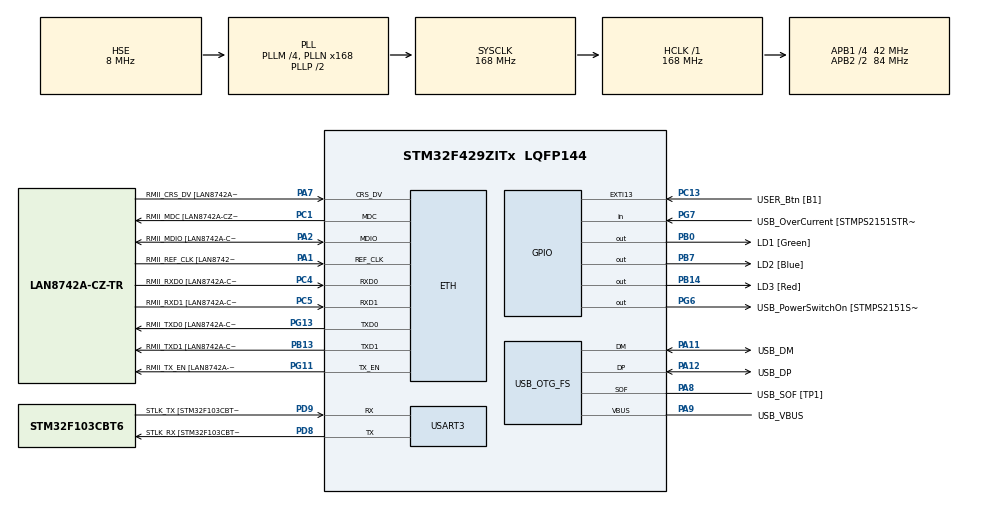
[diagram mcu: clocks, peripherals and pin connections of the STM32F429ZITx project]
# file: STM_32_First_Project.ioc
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Mcu.Family=STM32F4
RCC.CortexFreq_Value=168000000
PG6.Signal=GPIO_Output
PB14.GPIO_Label=LD3 [Red]
PG6.GPIO_Label=USB_PowerSwitchOn [STMPS2151STR_EN]
PA14.GPIO_Label=TCK
RCC.SYSCLKSourceVirtual=RCC_SYSCLKSOURCE_PLLCLK
PA11.Mode=Device_Only
PB0.GPIO_Label=LD1 [Green]
PC14/OSC32_IN.Mode=LSE-External-Oscillator
PC5.Mode=RMII
PC13.GPIO_Label=USER_Btn [B1]
PB13.GPIO_Label=RMII_TXD1 [LAN8742A-CZ-TR_TXD1]
PB13.Signal=ETH_TXD1
PG13.Signal=ETH_TXD0
PD9.Mode=Asynchronous
PG11.Signal=ETH_TX_EN
RCC.SYSCLKSource=RCC_SYSCLKSOURCE_PLLCLK
ProjectManager.StackSize=0x400
PA12.Signal=USB_OTG_FS_DP
ETH.PHY_Value=0
PH0/OSC_IN.Mode=HSE-External-Clock-Source
RCC.HCLKFreq_Value=168000000
RCC.APB2TimFreq_Value=168000000
PH1/OSC_OUT.Signal=RCC_OSC_OUT
PD8.Signal=USART3_TX
RCC.AHBFreq_Value=168000000
RCC.HSE_VALUE=8000000
RCC.PLLMUL=RCC_PLL_MUL9
PC4.GPIO_Label=RMII_RXD0 [LAN8742A-CZ-TR_RXD0]
PA14.Mode=Serial_Wire
PA10.GPIO_Label=USB_ID
PB7.Signal=GPIO_Output
PA8.Signal=USB_OTG_FS_SOF
PG13.Mode=RMII
ETH.PHY_Name=LAN8742A_PHY_ADDRESS
PH1/OSC_OUT.Mode=HSE-External-Clock-Source
PB7.GPIO_Label=LD2 [Blue]
Mcu.Package=LQFP144
PC14/OSC32_IN.Signal=RCC_OSC32_IN
PA2.GPIO_Label=RMII_MDIO [LAN8742A-CZ-TR_MDIO]
PA10.Signal=USB_OTG_FS_ID
USB_OTG_FS.VirtualMode=Device_Only
RCC.APB2CLKDivider=RCC_HCLK_DIV2
RCC.APB1TimFreq_Value=84000000
PG11.GPIO_Label=RMII_TX_EN [LAN8742A-CZ-TR_TXEN]
PC5.Signal=ETH_RXD1
PB13.Mode=RMII
PC4.Mode=RMII
PA7.Mode=RMII
PG7.Signal=GPIO_Input
PD9.GPIO_Label=STLK_TX [STM32F103CBT6_PA2]
PC13.Signal=GPXTI13
PA9.GPIO_Label=USB_VBUS
PC4.Signal=ETH_RXD0
PA11.GPIO_Label=USB_DM
PD9.Signal=USART3_RX
RCC.APB1CLKDivider=RCC_HCLK_DIV4
PG13.GPIO_Label=RMII_TXD0 [LAN8742A-CZ-TR_TXD0]
ETH.PhyAddress=0
PA12.GPIO_Label=USB_DP
PD8.GPIO_Label=STLK_RX [STM32F103CBT6_PA3]
PA13.Signal=SYS_JTMS-SWDIO
PA9.Mode=Activate_VBUS
PA8.GPIO_Label=USB_SOF [TP1]
ProjectManager.TargetToolchain=TrueSTUDIO
PA9.Signal=USB_OTG_FS_VBUS
RCC.USBFreq_Value=48000000
PD8.Mode=Asynchronous
PA1.Signal=ETH_REF_CLK
PB14.Signal=GPIO_Output
board=NUCLEO-F429ZI
RCC.VCOOutputFreq_Value=336000000
PH0/OSC_IN.Signal=RCC_OSC_IN
RCC.APB2Freq_Value=84000000
PA1.Mode=RMII
RCC.PRESCALERUSB=RCC_USBCLKSOURCE_PLL_DIV1_5
PG7.GPIO_Label=USB_OverCurrent [STMPS2151STR_FAULT]
PA1.GPIO_Label=RMII_REF_CLK [LAN8742A-CZ-TR_REFCLK0]
PC1.GPIO_Label=RMII_MDC [LAN8742A-CZ-TR_MDC]
PA13.Mode=Serial_Wire
Mcu.Name=STM32F429ZITx
PA2.Signal=ETH_MDIO
PA13.GPIO_Label=TMS
RCC.APB2TimCLKDivider=2
RCC.48MHZClocksFreq_Value=48000000
RCC.SYSCLKFreq_VALUE=168000000
ETH.MediaInterface=ETH_MEDIA_INTERFACE_RMII
PA7.GPIO_Label=RMII_CRS_DV [LAN8742A-CZ-TR_CRS_DV]
PA12.Mode=Device_Only
PC5.GPIO_Label=RMII_RXD1 [LAN8742A-CZ-TR_RXD1]
USART3.VirtualMode=VM_ASYNC
PC15/OSC32_OUT.Mode=LSE-External-Oscillator
PG11.Mode=RMII
PA11.Signal=USB_OTG_FS_DM
PA14.Signal=SYS_JTCK-SWCLK
ProjectManager.HeapSize=0x200
RCC.HSI_VALUE=16000000
PH0/OSC_IN.GPIO_Label=MCO [STM32F103CBT6_PA8]
RCC.PLLQ=7
NVIC.PriorityGroup=NVIC_PRIORITYGROUP_4
RCC.PLLM=4
RCC.PLLN=168
PA2.Mode=RMII
PC15/OSC32_OUT.Signal=RCC_OSC32_OUT
PA8.Mode=Activate_SOF_FS
RCC.APB1Freq_Value=42000000
PB0.Signal=GPIO_Output
PC1.Signal=ETH_MDC
PC1.Mode=RMII
PA7.Signal=ETH_CRS_DV

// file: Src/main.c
/* USER CODE BEGIN Header */
/**
 ******************************************************************************
 * @file           : main.c
 * @brief          : Main program body
 ******************************************************************************
 * @attention
 *
 * <h2><center>&copy; Copyright (c) 2020 STMicroelectronics.
 * All rights reserved.</center></h2>
 *
 * This software component is licensed by ST under BSD 3-Clause license,
 * the "License"; You may not use this file except in compliance with the
 * License. You may obtain a copy of the License at:
 *                        opensource.org/licenses/BSD-3-Clause
 *
 ******************************************************************************
 */
/* USER CODE END Header */

#include "main.h"

ETH_HandleTypeDef heth;

UART_HandleTypeDef huart3;

PCD_HandleTypeDef hpcd_USB_OTG_FS;

/* USER CODE BEGIN PV */
int leds_order = 1;
/* USER CODE END PV */

void SystemClock_Config(void);
static void MX_GPIO_Init(void);
static void MX_ETH_Init(void);
static void MX_USART3_UART_Init(void);
static void MX_USB_OTG_FS_PCD_Init(void);
/* USER CODE BEGIN PFP */
void order_switch_test(void);
/* USER CODE END PFP */

int main(void) {

	/* MCU Configuration--------------------------------------------------------*/

	/* Reset of all peripherals, Initializes the Flash interface and the Systick. */
	HAL_Init();

	/* Configure the system clock */
	SystemClock_Config();

	/* Initialize all configured peripherals */
	MX_GPIO_Init();
	MX_ETH_Init();
	MX_USART3_UART_Init();
	MX_USB_OTG_FS_PCD_Init();
	/* USER CODE BEGIN 2 */
	int pause = 0;
	/* USER CODE END 2 */

	/* Infinite loop */
	while (1) {
		/* USER CODE BEGIN WHILE */
		if (HAL_GPIO_ReadPin(USER_Btn_GPIO_Port, USER_Btn_Pin)) {
			pause = !pause;
		}
		if (!pause && !leds_order) {
			HAL_GPIO_TogglePin(GPIOB, GPIO_PIN_0);
			order_switch_test();
			HAL_GPIO_TogglePin(GPIOB, GPIO_PIN_0);
			order_switch_test();
			HAL_GPIO_TogglePin(GPIOB, GPIO_PIN_7);
			order_switch_test();
			HAL_GPIO_TogglePin(GPIOB, GPIO_PIN_7);
			order_switch_test();
			HAL_GPIO_TogglePin(GPIOB, GPIO_PIN_14);
			order_switch_test();
			HAL_GPIO_TogglePin(GPIOB, GPIO_PIN_14);
			order_switch_test();
		} else if (!pause && leds_order) {
			HAL_GPIO_TogglePin(GPIOB, GPIO_PIN_14);
			order_switch_test();
			HAL_GPIO_TogglePin(GPIOB, GPIO_PIN_14);
			order_switch_test();
			HAL_GPIO_TogglePin(GPIOB, GPIO_PIN_7);
			order_switch_test();
			HAL_GPIO_TogglePin(GPIOB, GPIO_PIN_7);
			order_switch_test();
			HAL_GPIO_TogglePin(GPIOB, GPIO_PIN_0);
			order_switch_test();
			HAL_GPIO_TogglePin(GPIOB, GPIO_PIN_0);
			order_switch_test();
		} else
			HAL_Delay(2000);
		/* USER CODE END WHILE */
	}
}
void SystemClock_Config(void) {
	RCC_OscInitTypeDef RCC_OscInitStruct = { 0 };
	RCC_ClkInitTypeDef RCC_ClkInitStruct = { 0 };

	/** Configure the main internal regulator output voltage
	 */
	__HAL_RCC_PWR_CLK_ENABLE()
	;
	__HAL_PWR_VOLTAGESCALING_CONFIG(PWR_REGULATOR_VOLTAGE_SCALE1);
	/** Initializes the CPU, AHB and APB busses clocks
	 */
	RCC_OscInitStruct.OscillatorType = RCC_OSCILLATORTYPE_HSE;
	RCC_OscInitStruct.HSEState = RCC_HSE_BYPASS;
	RCC_OscInitStruct.PLL.PLLState = RCC_PLL_ON;
	RCC_OscInitStruct.PLL.PLLSource = RCC_PLLSOURCE_HSE;
	RCC_OscInitStruct.PLL.PLLM = 4;
	RCC_OscInitStruct.PLL.PLLN = 168;
	RCC_OscInitStruct.PLL.PLLP = RCC_PLLP_DIV2;
	RCC_OscInitStruct.PLL.PLLQ = 7;
	if (HAL_RCC_OscConfig(&RCC_OscInitStruct) != HAL_OK) {
		Error_Handler();
	}
	/** Initializes the CPU, AHB and APB busses clocks
	 */
	RCC_ClkInitStruct.ClockType = RCC_CLOCKTYPE_HCLK | RCC_CLOCKTYPE_SYSCLK
			| RCC_CLOCKTYPE_PCLK1 | RCC_CLOCKTYPE_PCLK2;
	RCC_ClkInitStruct.SYSCLKSource = RCC_SYSCLKSOURCE_PLLCLK;
	RCC_ClkInitStruct.AHBCLKDivider = RCC_SYSCLK_DIV1;
	RCC_ClkInitStruct.APB1CLKDivider = RCC_HCLK_DIV4;
	RCC_ClkInitStruct.APB2CLKDivider = RCC_HCLK_DIV2;

	if (HAL_RCC_ClockConfig(&RCC_ClkInitStruct, FLASH_LATENCY_5) != HAL_OK) {
		Error_Handler();
	}
}

static void MX_ETH_Init(void) {

	heth.Instance = ETH;
	heth.Init.AutoNegotiation = ETH_AUTONEGOTIATION_ENABLE;
	heth.Init.PhyAddress = LAN8742A_PHY_ADDRESS;
	heth.Init.MACAddr[0] = 0x00;
	heth.Init.MACAddr[1] = 0x80;
	heth.Init.MACAddr[2] = 0xE1;
	heth.Init.MACAddr[3] = 0x00;
	heth.Init.MACAddr[4] = 0x00;
	heth.Init.MACAddr[5] = 0x00;
	heth.Init.RxMode = ETH_RXPOLLING_MODE;
	heth.Init.ChecksumMode = ETH_CHECKSUM_BY_HARDWARE;
	heth.Init.MediaInterface = ETH_MEDIA_INTERFACE_RMII;

	if (HAL_ETH_Init(&heth) != HAL_OK) {
		Error_Handler();
	}

}

static void MX_USART3_UART_Init(void) {

	huart3.Instance = USART3;
	huart3.Init.BaudRate = 115200;
	huart3.Init.WordLength = UART_WORDLENGTH_8B;
	huart3.Init.StopBits = UART_STOPBITS_1;
	huart3.Init.Parity = UART_PARITY_NONE;
	huart3.Init.Mode = UART_MODE_TX_RX;
	huart3.Init.HwFlowCtl = UART_HWCONTROL_NONE;
	huart3.Init.OverSampling = UART_OVERSAMPLING_16;
	if (HAL_UART_Init(&huart3) != HAL_OK) {
		Error_Handler();
	}

}

static void MX_USB_OTG_FS_PCD_Init(void) {

	hpcd_USB_OTG_FS.Instance = USB_OTG_FS;
	hpcd_USB_OTG_FS.Init.dev_endpoints = 4;
	hpcd_USB_OTG_FS.Init.speed = PCD_SPEED_FULL;
	hpcd_USB_OTG_FS.Init.dma_enable = DISABLE;
	hpcd_USB_OTG_FS.Init.phy_itface = PCD_PHY_EMBEDDED;
	hpcd_USB_OTG_FS.Init.Sof_enable = ENABLE;
	hpcd_USB_OTG_FS.Init.low_power_enable = DISABLE;
	hpcd_USB_OTG_FS.Init.lpm_enable = DISABLE;
	hpcd_USB_OTG_FS.Init.vbus_sensing_enable = ENABLE;
	hpcd_USB_OTG_FS.Init.use_dedicated_ep1 = DISABLE;
	if (HAL_PCD_Init(&hpcd_USB_OTG_FS) != HAL_OK) {
		Error_Handler();
	}

}

static void MX_GPIO_Init(void) {
	GPIO_InitTypeDef GPIO_InitStruct = { 0 };

	/* GPIO Ports Clock Enable */
	__HAL_RCC_GPIOC_CLK_ENABLE()
	;
	__HAL_RCC_GPIOH_CLK_ENABLE()
	;
	__HAL_RCC_GPIOA_CLK_ENABLE()
	;
	__HAL_RCC_GPIOB_CLK_ENABLE()
	;
	__HAL_RCC_GPIOD_CLK_ENABLE()
	;
	__HAL_RCC_GPIOG_CLK_ENABLE()
	;

	/*Configure GPIO pin Output Level */
	HAL_GPIO_WritePin(GPIOB, LD1_Pin | LD3_Pin | LD2_Pin, GPIO_PIN_RESET);

	/*Configure GPIO pin Output Level */
	HAL_GPIO_WritePin(USB_PowerSwitchOn_GPIO_Port, USB_PowerSwitchOn_Pin,
			GPIO_PIN_RESET);

	/*Configure GPIO pin : USER_Btn_Pin */
	GPIO_InitStruct.Pin = USER_Btn_Pin;
	GPIO_InitStruct.Mode = GPIO_MODE_IT_RISING;
	GPIO_InitStruct.Pull = GPIO_NOPULL;
	HAL_GPIO_Init(USER_Btn_GPIO_Port, &GPIO_InitStruct);

	/*Configure GPIO pins : LD1_Pin LD3_Pin LD2_Pin */
	GPIO_InitStruct.Pin = LD1_Pin | LD3_Pin | LD2_Pin;
	GPIO_InitStruct.Mode = GPIO_MODE_OUTPUT_PP;
	GPIO_InitStruct.Pull = GPIO_NOPULL;
	GPIO_InitStruct.Speed = GPIO_SPEED_FREQ_LOW;
	HAL_GPIO_Init(GPIOB, &GPIO_InitStruct);

	/*Configure GPIO pin : USB_PowerSwitchOn_Pin */
	GPIO_InitStruct.Pin = USB_PowerSwitchOn_Pin;
	GPIO_InitStruct.Mode = GPIO_MODE_OUTPUT_PP;
	GPIO_InitStruct.Pull = GPIO_NOPULL;
	GPIO_InitStruct.Speed = GPIO_SPEED_FREQ_LOW;
	HAL_GPIO_Init(USB_PowerSwitchOn_GPIO_Port, &GPIO_InitStruct);

	/*Configure GPIO pin : USB_OverCurrent_Pin */
	GPIO_InitStruct.Pin = USB_OverCurrent_Pin;
	GPIO_InitStruct.Mode = GPIO_MODE_INPUT;
	GPIO_InitStruct.Pull = GPIO_NOPULL;
	HAL_GPIO_Init(USB_OverCurrent_GPIO_Port, &GPIO_InitStruct);

}

/* USER CODE BEGIN 4 */
void order_switch_test(void) {
	int stateOfPushButton = 0;
	stateOfPushButton = HAL_GPIO_ReadPin(GPIOC, GPIO_PIN_13);
	if (stateOfPushButton) {
		leds_order = !leds_order;
	}
	HAL_Delay(100);
}
/* USER CODE END 4 */

void Error_Handler(void) {
}

/************************ (C) COPYRIGHT STMicroelectronics *****END OF FILE****/
